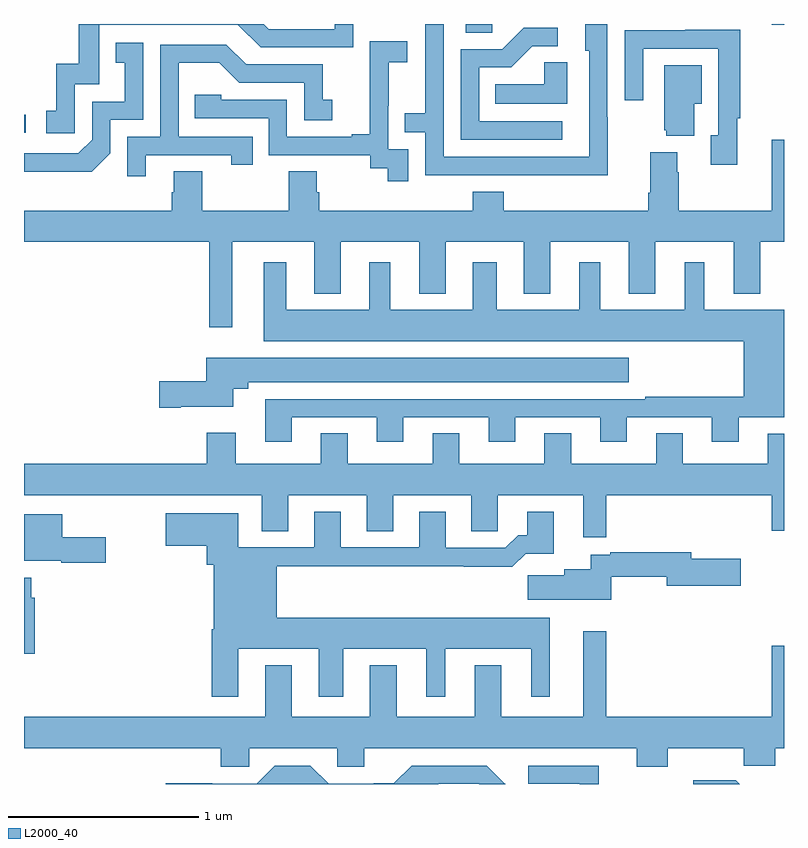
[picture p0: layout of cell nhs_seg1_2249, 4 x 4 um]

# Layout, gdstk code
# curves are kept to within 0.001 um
import gdstk
lib = gdstk.Library(unit=1e-6, precision=1e-09)
def R(c, l, rs):  # rectangles x0, y0, x1, y1
    for r in rs: c.add(gdstk.rectangle(r[:2], r[2:], *l))
def P(c, l, *ps):  # polygons
    for p in ps: c.add(gdstk.Polygon(p, *l))
L2000_40 = (2000, 40)

nhs_seg1_2249 = lib.new_cell('nhs_seg1_2249')
R(nhs_seg1_2249, L2000_40, [(233,565.626,233.008,565.722), (235.325,566.152,235.464,566.199), (236.936,566.196,237,566.199)])
P(nhs_seg1_2249, L2000_40, [(233.268,565.881),(233.397,565.881),(233.397,566.196),(234.126,566.196),(234.246,566.076),(234.732,566.076),(234.732,566.199),(234.635,566.199),(234.635,566.172),(234.288,566.172),(234.261,566.199),(233.289,566.199),(233.289,565.99),(233.171,565.99),(233.171,565.743),(233.118,565.743),(233.118,565.623),(233.268,565.623)],
  [(236.073,565.709),(236.07,565.709),(236.07,566.199),(235.955,566.199),(235.955,566.058),(235.974,566.058),(235.974,565.5),(235.209,565.5),(235.209,566.199),(235.113,566.199),(235.113,565.73),(235.003,565.73),(235.003,565.629),(235.113,565.629),(235.113,565.404),(235.609,565.404),(235.609,565.403),(236.073,565.403)],
  [(235.834,565.686),(235.395,565.686),(235.395,565.971),(235.564,565.971),(235.675,566.082),(235.81,566.082),(235.81,566.18),(235.631,566.18),(235.518,566.067),(235.299,566.067),(235.299,565.59),(235.834,565.59)],
  [(236.753,565.702),(236.771,565.702),(236.771,566.168),(236.479,566.168),(236.479,566.166),(236.163,566.166),(236.163,565.797),(236.259,565.797),(236.259,566.07),(236.655,566.07),(236.655,565.614),(236.615,565.614),(236.615,565.458),(236.753,565.458)],
  [(235.023,565.539),(234.918,565.539),(234.918,565.769),(234.92,565.769),(234.92,565.997),(235.018,565.997),(235.018,566.107),(234.82,566.107),(234.82,565.901),(234.821,565.901),(234.821,565.618),(234.725,565.618),(234.725,565.605),(234.384,565.605),(234.384,565.8),(234.039,565.8),(234.039,565.827),(233.899,565.827),(233.899,565.704),(234.288,565.704),(234.288,565.509),(234.822,565.509),(234.822,565.441),(234.915,565.441),(234.915,565.371),(235.023,565.371)],
  [(233.454,565.518),(233.454,565.695),(233.628,565.695),(233.628,566.101),(233.482,566.101),(233.482,565.995),(233.531,565.995),(233.531,565.791),(233.358,565.791),(233.358,565.59),(233.286,565.518),(233,565.518),(233,565.421),(233.356,565.421)],
  [(233.641,565.509),(234.092,565.509),(234.092,565.458),(234.203,565.458),(234.203,565.605),(233.814,565.605),(233.814,565.994),(234.028,565.994),(234.132,565.89),(234.474,565.89),(234.474,565.692),(234.622,565.692),(234.622,565.801),(234.573,565.801),(234.573,565.986),(234.169,565.986),(234.064,566.091),(233.718,566.091),(233.718,565.605),(233.544,565.605),(233.544,565.398),(233.641,565.398)],
  [(235.858,565.997),(235.737,565.997),(235.737,565.882),(235.48,565.882),(235.48,565.778),(235.858,565.778)],
  [(236.527,565.778),(236.566,565.778),(236.566,565.981),(236.369,565.981),(236.369,565.641),(236.381,565.641),(236.381,565.61),(236.527,565.61)],
  [(234.554,565.314),(234.541,565.314),(234.541,565.424),(234.394,565.424),(234.394,565.216),(233.937,565.216),(233.937,565.424),(233.789,565.424),(233.789,565.314),(233.777,565.314),(233.777,565.216),(233,565.216),(233,565.052),(233.976,565.052),(233.976,564.603),(234.097,564.603),(234.097,565.052),(234.527,565.052),(234.527,564.779),(234.667,564.779),(234.667,565.052),(235.079,565.052),(235.079,564.779),(235.219,564.779),(235.219,565.052),(235.631,565.052),(235.631,564.779),(235.771,564.779),(235.771,565.052),(236.183,565.052),(236.183,564.779),(236.323,564.779),(236.323,565.052),(236.735,565.052),(236.735,564.779),(236.875,564.779),(236.875,565.052),(237,565.052),(237,565.591),(236.936,565.591),(236.936,565.216),(236.445,565.216),(236.445,565.418),(236.437,565.418),(236.437,565.525),(236.297,565.525),(236.297,565.312),(236.285,565.312),(236.285,565.216),(235.526,565.216),(235.526,565.315),(235.361,565.315),(235.361,565.216),(234.554,565.216)],
  [(234.409,564.129),(234.857,564.129),(234.857,564),(234.997,564),(234.997,564.129),(235.445,564.129),(235.445,564),(235.585,564),(235.585,564.129),(236.033,564.129),(236.033,564),(236.173,564),(236.173,564.129),(236.621,564.129),(236.621,564),(236.761,564),(236.761,564.128),(237,564.128),(237,564.694),(236.581,564.694),(236.581,564.946),(236.477,564.946),(236.477,564.694),(236.032,564.694),(236.032,564.946),(235.922,564.946),(235.922,564.694),(235.489,564.694),(235.489,564.946),(235.361,564.946),(235.361,564.694),(234.928,564.694),(234.928,564.946),(234.818,564.946),(234.818,564.694),(234.379,564.694),(234.379,564.946),(234.263,564.946),(234.263,564.53),(236.789,564.53),(236.789,564.238),(236.269,564.238),(236.269,564.225),(234.269,564.225),(234.269,564),(234.409,564)],
  [(233.824,564.185),(234.1,564.185),(234.1,564.278),(234.181,564.278),(234.181,564.314),(236.182,564.314),(236.182,564.442),(233.96,564.442),(233.96,564.32),(233.712,564.32),(233.712,564.178),(233.824,564.178)],
  [(236.065,563.72),(236.936,563.72),(236.936,563.532),(237,563.532),(237,564.043),(236.915,564.043),(236.915,563.884),(236.467,563.884),(236.467,564.044),(236.327,564.044),(236.327,563.884),(235.879,563.884),(235.879,564.044),(235.739,564.044),(235.739,563.884),(235.291,563.884),(235.291,564.044),(235.151,564.044),(235.151,563.884),(234.703,563.884),(234.703,564.044),(234.563,564.044),(234.563,563.884),(234.115,563.884),(234.115,564.049),(233.963,564.049),(233.963,563.884),(233,563.884),(233,563.72),(234.251,563.72),(234.251,563.53),(234.391,563.53),(234.391,563.72),(234.803,563.72),(234.803,563.53),(234.943,563.53),(234.943,563.72),(235.355,563.72),(235.355,563.53),(235.494,563.53),(235.494,563.72),(235.943,563.72),(235.943,563.499),(236.065,563.499)],
  [(234.127,562.91),(234.551,562.91),(234.551,562.659),(234.679,562.659),(234.679,562.91),(235.118,562.91),(235.118,562.659),(235.216,562.659),(235.216,562.91),(235.67,562.91),(235.67,562.659),(235.768,562.659),(235.768,563.074),(234.331,563.074),(234.331,563.344),(235.315,563.344),(235.315,563.342),(235.571,563.342),(235.64,563.411),(235.789,563.411),(235.789,563.632),(235.649,563.632),(235.649,563.509),(235.6,563.509),(235.533,563.442),(235.219,563.442),(235.219,563.632),(235.079,563.632),(235.079,563.445),(234.667,563.445),(234.667,563.632),(234.527,563.632),(234.527,563.445),(234.127,563.445),(234.127,563.623),(233.745,563.623),(233.745,563.453),(233.963,563.453),(233.963,563.352),(233.999,563.352),(233.999,563.014),(233.987,563.014),(233.987,562.659),(234.127,562.659)],
  [(233.431,563.497),(233.2,563.497),(233.2,563.62),(233,563.62),(233,563.375),(233.196,563.375),(233.196,563.363),(233.431,563.363)],
  [(236.092,563.29),(236.384,563.29),(236.384,563.243),(236.773,563.243),(236.773,563.385),(236.512,563.385),(236.512,563.419),(236.086,563.419),(236.086,563.406),(235.982,563.406),(235.982,563.329),(235.844,563.329),(235.844,563.297),(235.65,563.297),(235.65,563.168),(236.092,563.168)],
  [(233.057,563.18),(233.037,563.18),(233.037,563.284),(233,563.284),(233,562.884),(233.057,562.884)],
  [(236.389,562.388),(236.789,562.388),(236.789,562.295),(236.953,562.295),(236.953,562.388),(237,562.388),(237,562.927),(236.936,562.927),(236.936,562.552),(236.065,562.552),(236.065,563.002),(235.943,563.002),(235.943,562.552),(235.513,562.552),(235.513,562.825),(235.373,562.825),(235.373,562.552),(234.961,562.552),(234.961,562.825),(234.821,562.825),(234.821,562.552),(234.409,562.552),(234.409,562.825),(234.269,562.825),(234.269,562.552),(233,562.552),(233,562.388),(234.035,562.388),(234.035,562.29),(234.186,562.29),(234.186,562.388),(234.648,562.388),(234.648,562.29),(234.79,562.29),(234.79,562.388),(236.225,562.388),(236.225,562.289),(236.389,562.289)],
  [(236.024,562.296),(235.653,562.296),(235.653,562.2),(235.926,562.2),(235.926,562.199),(236.024,562.199)],
  [(235.18,562.2),(235.534,562.199),(235.532,562.201),(235.531,562.2),(235.435,562.296),(235.041,562.296),(234.947,562.202),(234.842,562.202),(234.842,562.2),(234.603,562.2),(234.507,562.296),(234.32,562.296),(234.224,562.2),(233.991,562.2),(233.991,562.202),(233.745,562.202),(233.745,562.199)],
  [(236.747,562.219),(236.523,562.219),(236.523,562.199),(236.767,562.199)])

lib.write_gds('nhs_seg1_2249.gds')
